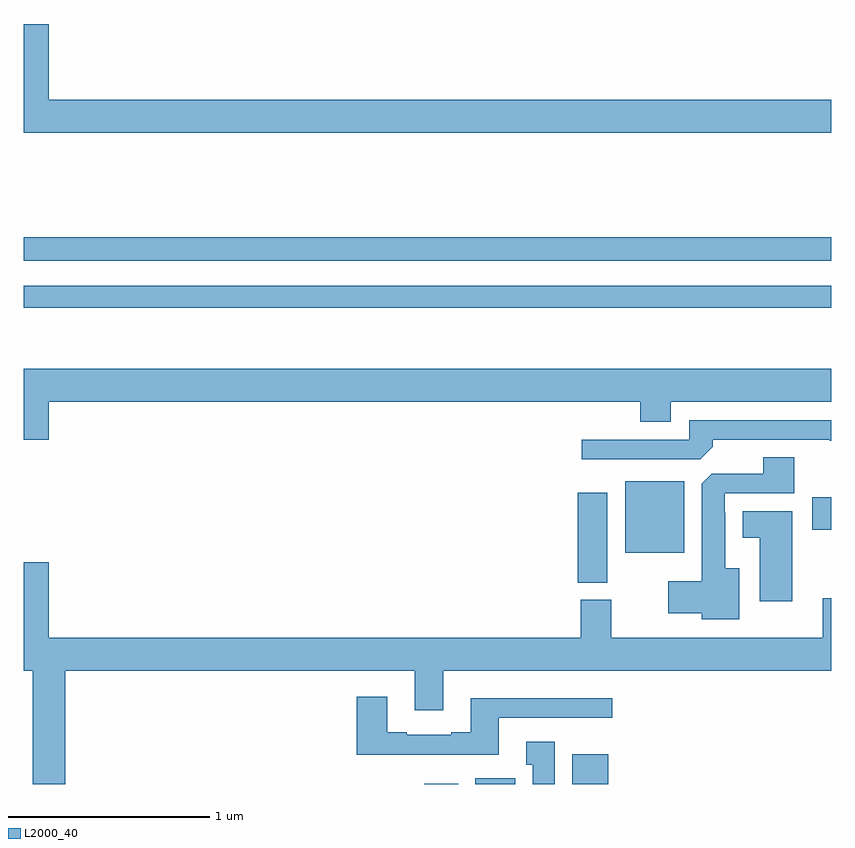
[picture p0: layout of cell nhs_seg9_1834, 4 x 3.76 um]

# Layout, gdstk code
import gdstk
lib = gdstk.Library(unit=1e-6, precision=1e-09)
def R(c, l, rs):  # rectangles x0, y0, x1, y1
    for r in rs: c.add(gdstk.rectangle(r[:2], r[2:], *l))
def P(c, l, *ps):  # polygons
    for p in ps: c.add(gdstk.Polygon(p, *l))
L2000_40 = (2000, 40)

nhs_seg9_1834 = lib.new_cell('nhs_seg9_1834')
R(nhs_seg9_1834, L2000_40, [(214.985,1222.5,215.152,1222.501), (215.237,1222.5,215.434,1222.528), (215.717,1222.5,215.896,1222.648), (215.744,1223.497,215.89,1223.941), (215.978,1223.645,216.271,1223.998), (216.906,1223.758,217,1223.92), (213,1224.858,217,1224.966), (213,1225.092,217,1225.208)])
P(nhs_seg9_1834, L2000_40, [(217,1225.888),(213.124,1225.888),(213.124,1226.263),(213,1226.263),(213,1225.724),(217,1225.724)],
  [(213.124,1224.392),(216.053,1224.392),(216.053,1224.293),(216.205,1224.293),(216.205,1224.392),(217,1224.392),(217,1224.556),(213,1224.556),(213,1224.204),(213.124,1224.204)],
  [(216.413,1224.17),(216.413,1224.204),(216.992,1224.204),(216.992,1224.199),(217,1224.199),(217,1224.3),(216.297,1224.3),(216.297,1224.204),(215.763,1224.204),(215.763,1224.108),(216.351,1224.108)],
  [(216.544,1223.569),(216.475,1223.569),(216.475,1223.843),(216.471,1223.843),(216.471,1223.94),(216.815,1223.94),(216.815,1224.119),(216.662,1224.119),(216.662,1224.036),(216.408,1224.036),(216.359,1223.987),(216.359,1223.503),(216.192,1223.503),(216.192,1223.345),(216.359,1223.345),(216.359,1223.315),(216.544,1223.315)],
  [(216.805,1223.851),(216.56,1223.851),(216.56,1223.72),(216.644,1223.72),(216.644,1223.406),(216.805,1223.406)],
  [(213.206,1223.06),(214.937,1223.06),(214.937,1222.866),(215.077,1222.866),(215.077,1223.06),(217,1223.06),(217,1223.419),(216.956,1223.419),(216.956,1223.224),(215.911,1223.224),(215.911,1223.412),(215.759,1223.412),(215.759,1223.224),(213.124,1223.224),(213.124,1223.599),(213,1223.599),(213,1223.06),(213.046,1223.06),(213.046,1222.5),(213.206,1222.5)],
  [(215.353,1222.827),(215.914,1222.827),(215.914,1222.924),(215.213,1222.924),(215.213,1222.756),(215.117,1222.756),(215.117,1222.743),(214.897,1222.743),(214.897,1222.756),(214.801,1222.756),(214.801,1222.933),(214.649,1222.933),(214.649,1222.646),(215.353,1222.646)],
  [(215.629,1222.708),(215.489,1222.708),(215.489,1222.595),(215.522,1222.595),(215.522,1222.5),(215.629,1222.5)])

lib.write_gds('nhs_seg9_1834.gds')
